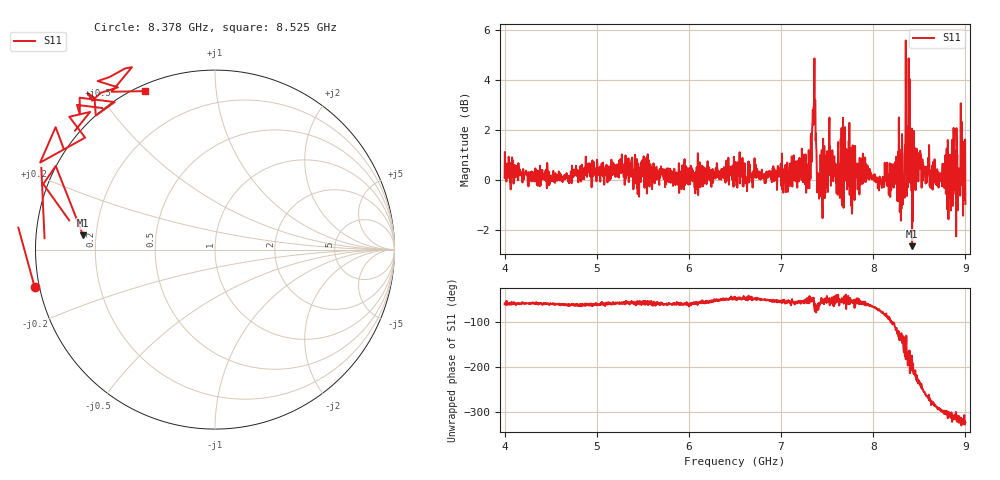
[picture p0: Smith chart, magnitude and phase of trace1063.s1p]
! Created with skrf 1.8.0 (http://scikit-rf.org).
# Hz S RI R 50.0
!freq ReS11 ImS11
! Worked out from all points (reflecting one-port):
!   1601 points, 4 GHz to 9 GHz, reference 50 ohm
!   lowest |S11| = -2.6 dB at 8.422 GHz (marker M1), VSWR 6.66, Z = 7.53 + j2.62 ohm
!   phase of S11 starts at -58 deg and turns -265 deg over the sweep
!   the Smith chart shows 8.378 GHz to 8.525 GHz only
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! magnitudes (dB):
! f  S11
! 4 GHz  0.1
! 4.625 GHz  -0.1
! 5.25 GHz  0.3
! 5.875 GHz  0.2
! 6.5 GHz  0.0
! 7.125 GHz  0.4
! 7.294 GHz  0.2
! 7.347 GHz  2.6
! 7.359 GHz  3.7
! 7.412 GHz  -0.7
! 7.512 GHz  1.1
! 7.619 GHz  1.5
! 7.672 GHz  2.5
! 7.75 GHz  0.4
! 8.097 GHz  0.0
! 8.259 GHz  0.6
! 8.312 GHz  1.8
! 8.334 GHz  0.1
! 8.347 GHz  1.2
! 8.375 GHz  1.6
! 8.422 GHz  -2.6
! 8.447 GHz  1.3
! 8.497 GHz  1.0
! 8.825 GHz  0.2
! 8.872 GHz  2.1
! 8.919 GHz  -0.3
! 8.972 GHz  0.6
! 9 GHz  -0.9
